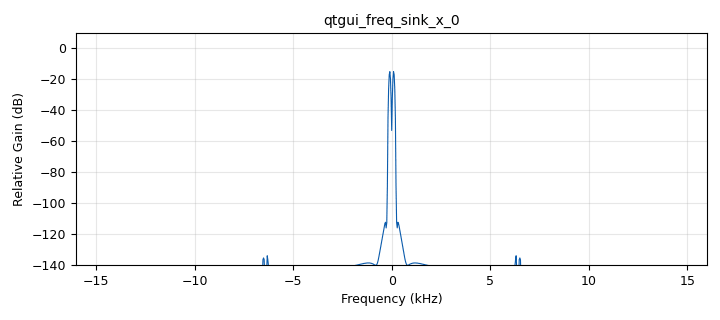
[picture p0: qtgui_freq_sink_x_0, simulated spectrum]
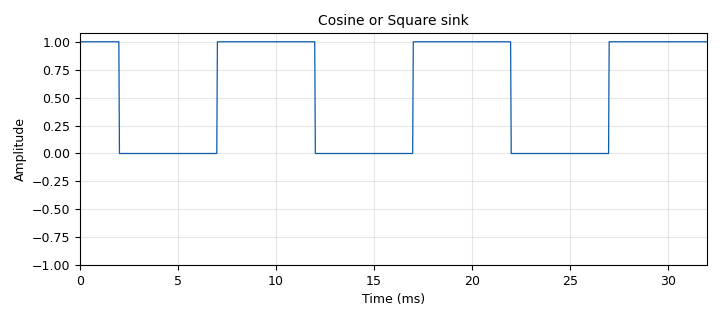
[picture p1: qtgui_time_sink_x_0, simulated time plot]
options:
  parameters:
    author: JI
    generate_options: qt_gui
    id: multiplexing
    output_language: python
    title: multiplexing
  states: {}

blocks:
- name: freq
  id: variable
  parameters:
    value: '100'
  states: {}
- name: qtgui_check_box_selector_source
  id: variable_qtgui_check_box
  parameters:
    'false': '0'
    gui_hint: 'qtgui_tab_widget_Selctor@0: [0,0]'
    label: Selector (True = Square, False = Cos )
    'true': '1'
    type: int
    value: 'True'
  states: {}
- name: samp_rate
  id: variable
  parameters:
    value: '32000'
  states: {}
- name: variable_qtgui_check_box_outputStyle
  id: variable_qtgui_check_box
  parameters:
    'false': '0'
    gui_hint: 'qtgui_tab_widget_Selctor@1: [1,0]'
    label: Sink selector [True = Freq, False= Time]
    'true': '1'
    type: int
    value: 'True'
  states: {}
- name: analog_sig_source_x_0
  id: analog_sig_source_x
  parameters:
    amp: '1'
    freq: freq
    offset: '0'
    phase: '0'
    samp_rate: samp_rate
    type: float
    waveform: analog.GR_COS_WAVE
  states: {}
- name: analog_sig_source_x_0_0
  id: analog_sig_source_x
  parameters:
    amp: '1'
    freq: freq
    offset: '0'
    phase: '0'
    samp_rate: samp_rate
    type: float
    waveform: analog.GR_COS_WAVE
  states: {}
- name: analog_sig_source_x_1
  id: analog_sig_source_x
  parameters:
    amp: '1'
    freq: freq
    offset: '0'
    phase: '0'
    samp_rate: samp_rate
    type: float
    waveform: analog.GR_SQR_WAVE
  states: {}
- name: blocks_selector_0
  id: blocks_selector
  parameters:
    enabled: 'True'
    input_index: qtgui_check_box_selector_source
    num_inputs: '2'
    num_outputs: '1'
    output_index: '0'
    type: float
  states: {}
- name: blocks_selector_0_0
  id: blocks_selector
  parameters:
    enabled: 'True'
    input_index: '0'
    num_inputs: '1'
    num_outputs: '2'
    output_index: variable_qtgui_check_box_outputStyle
    type: float
  states: {}
- name: qtgui_freq_sink_x_0
  id: qtgui_freq_sink_x
  parameters:
    bw: samp_rate
    fc: '0'
    fftsize: '1024'
    gui_hint: qtgui_tab_widget_Selctor@1:[2,0]
    type: float
    wintype: firdes.WIN_BLACKMAN_hARRIS
  states: {}
- name: qtgui_tab_widget_Selctor
  id: qtgui_tab_widget
  parameters:
    comment: |-
      Thish block creates widget tabs
      To assign GUIs to certain tabs using the QT GUI Tab Widget, use the format:

      tab_id@0


      You can combine the row/col and the tab format using a colon, e.g.:
      tab_id@1 : 0,0,1,1
    label0: Source
    label1: Sink
    num_tabs: '2'
  states: {}
- name: qtgui_time_sink_x_0
  id: qtgui_time_sink_x
  parameters:
    comment: This sink displays different values given the source selector
    entags: 'False'
    gui_hint: 'qtgui_tab_widget_Selctor@0: [1,0]'
    name: '"Cosine or Square sink"'
    size: '1024'
    srate: samp_rate
    type: float
  states: {}
- name: qtgui_time_sink_x_0_0
  id: qtgui_time_sink_x
  parameters:
    entags: 'False'
    gui_hint: qtgui_tab_widget_Selctor@1:[0,0]
    size: '1024'
    srate: samp_rate
    type: float
  states: {}

connections:
- [analog_sig_source_x_0, '0', blocks_selector_0, '0']
- [analog_sig_source_x_0_0, '0', blocks_selector_0_0, '0']
- [analog_sig_source_x_1, '0', blocks_selector_0, '1']
- [blocks_selector_0, '0', qtgui_time_sink_x_0, '0']
- [blocks_selector_0_0, '0', qtgui_time_sink_x_0_0, '0']
- [blocks_selector_0_0, '1', qtgui_freq_sink_x_0, '0']

metadata:
  file_format: 1
